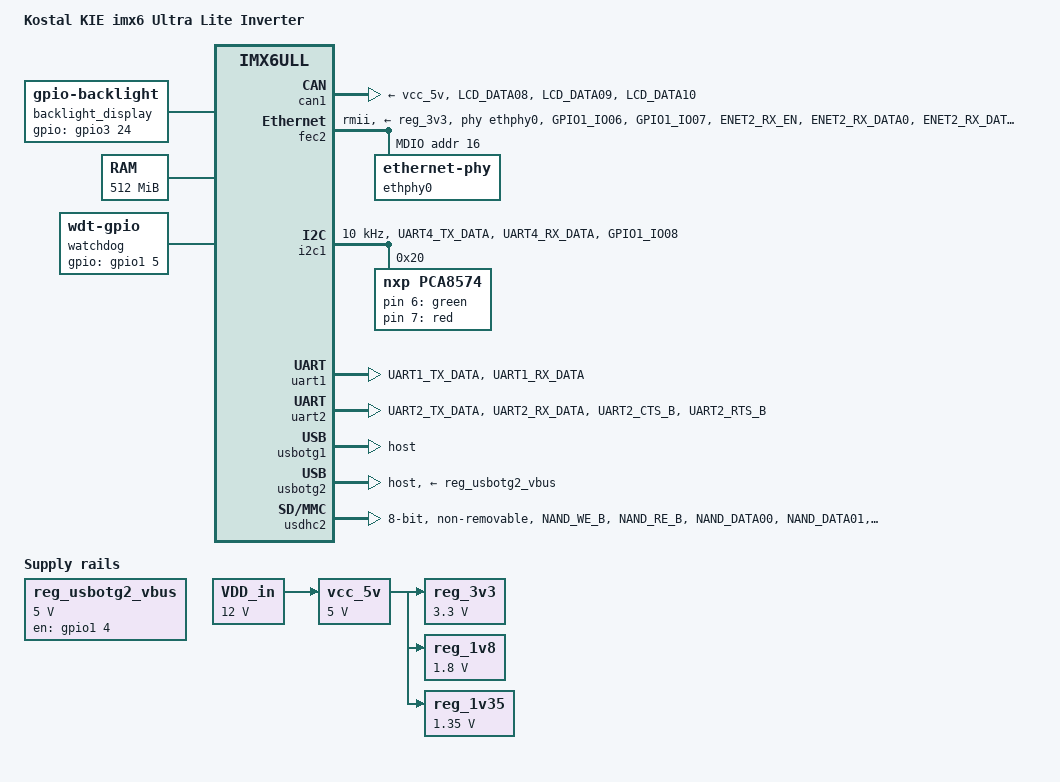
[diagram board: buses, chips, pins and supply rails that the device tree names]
// SPDX-License-Identifier: GPL-2.0+
/*
 * Copyright (C) 2019 DENX Software Engineering GmbH
 * Author: Parthiban Nallathambi <pn@denx.de>
 */
/dts-v1/;

#include "imx6ull.dtsi"
/ {
	model = "Kostal KIE imx6 Ultra Lite Inverter";
	compatible = "kostal,imx6ull-inverter", "fsl,imx6ull";

	aliases {
		u-boot,dm-pre-reloc;
		mmc0 = &usdhc2;
		usb0 = &usbotg1;
		display0 = &lcdif;
		ethernet0 = &fec2;
	};

	backlight_display: backlight-display {
		compatible = "gpio-backlight";
		pinctrl-names = "default";
		pinctrl-0 = <&pinctrl_backlight>;
		gpios = <&gpio3 24 GPIO_ACTIVE_HIGH>;
		default-on;
		status = "okay";
	};

	chosen {
		stdout-path = &uart1;
	};

	leds {
		compatible = "gpio-leds";

		green {
			label = "green";
			gpios = <&pca8574 6 GPIO_ACTIVE_HIGH>;
			linux,default-trigger = "gpio";
			default-state = "off";
		};

		red {
			label = "red";
			gpios = <&pca8574 7 GPIO_ACTIVE_HIGH>;
			linux,default-trigger = "gpio";
			default-state = "off";
		};
	};

	memory {
		reg = <0x80000000 0x20000000>;
	};

	regulators: regulators {
		compatible = "simple-bus";
		#address-cells = <1>;
		#size-cells = <0>;

		reg_usbotg2_vbus: usbotg2-vbus@0 {
			compatible = "regulator-fixed";
			pinctrl-names = "default";
			pinctrl-0 = <&pinctrl_usb_otg2_vbus>;
			regulator-name = "usb_otg2_vbus";
			regulator-min-microvolt = <5000000>;
			regulator-max-microvolt = <5000000>;
			gpio = <&gpio1 4 GPIO_ACTIVE_HIGH>;
			enable-active-high;
		};

		VDD_in: regulator@1 {
			compatible = "regulator-fixed";
			regulator-name = "VDD_in";
			regulator-min-microvolt = <12000000>;
			regulator-max-microvolt = <12000000>;
			regulator-always-on;
			regulator-boot-on;
		};

		vcc_5v: regulator@2 {
			compatible = "regulator-fixed";
			regulator-name = "+5V";
			regulator-min-microvolt = <5000000>;
			regulator-max-microvolt = <5000000>;
			regulator-always-on;
			vin-supply = <&VDD_in>;
		};

		reg_3v3: regulator@4 {
			compatible = "regulator-fixed";
			regulator-name = "3V3";
			regulator-min-microvolt = <3300000>;
			regulator-max-microvolt = <3300000>;
			regulator-always-on;
			vin-supply = <&vcc_5v>;
		};

		reg_1v8: regulator@5 {
			compatible = "regulator-fixed";
			regulator-name = "1V8";
			regulator-min-microvolt = <1800000>;
			regulator-max-microvolt = <1800000>;
			regulator-always-on;
			vin-supply = <&vcc_5v>;
		};

		reg_1v35: regulator@6 {
			compatible = "regulator-fixed";
			regulator-name = "1V35";
			regulator-min-microvolt = <1350000>;
			regulator-max-microvolt = <1350000>;
			regulator-always-on;
			vin-supply = <&vcc_5v>;
		};


/*
		vbus_otg1: regulator@3 {
			compatible = "regulator-fixed";
			reg = <3>;
			regulator-name = "vbus_otg1";
			regulator-min-microvolt = <5000000>;
			regulator-max-microvolt = <5000000>;
		};
*/
	};

/*
	panel {
		compatible = "sitronix,st7701";
		backlight = <&backlight_display>;

		port {
			panel_in: endpoint {
				remote-endpoint = <&display_out>;
			};
		};
	};
*/

	watchdog: watchdog {
		compatible = "linux,wdt-gpio";
		gpios = <&gpio1 5 GPIO_ACTIVE_HIGH>;
		pinctrl-0 = <&pinctrl_ext_wdog>;
		hw_algo = "toggle";
		hw_margin_ms = <1600>;
		always-running;
	};
};

&can1 {
	pinctrl-names = "default";
	pinctrl-0 = <&pinctrl_flexcan1>;
	xceiver-supply = <&vcc_5v>;
	status = "okay";
};

&fec2 {
	pinctrl-names = "default";
	pinctrl-0 = <&pinctrl_enet2>;
	phy-mode = "rmii";
	phy-handle = <&ethphy0>;
	phy-supply = <&reg_3v3>;
	status = "okay";

	/* Switch MV88E6020 at base address 0x10 when ADDR4=1 */
	/* Proper initialization is performed with PHYLIB */
	mdio {
		#address-cells = <1>;
		#size-cells = <0>;

		ethphy0: ethernet-phy@10 {
			reg = <0x10>;
		};
	};
};

&i2c1 {
	clock-frequency = <10000>;
	pinctrl-names = "default";
	pinctrl-0 = <&pinctrl_i2c1>;
	status = "okay";

	pca8574: gpio@20 {
		compatible = "nxp,pca8574";
		reg = <0x20>;
		gpio-controller;
		#gpio-cells = <2>;
		gpio-bank-name = "kbd";
		lines-initial-states = <0xFF>;
	};
};

/* TODO - Not yet working */
/*
&lcdif {
	pinctrl-names = "default";
	pinctrl-0 = <&pinctrl_lcdif_dat
		     &pinctrl_lcdif_ctrl>;
	lcd-supply = <&reg_3v3>;
	status = "okay";

	port {
		display_out: endpoint {
			remote-endpoint = <&panel_in>;
		};
	};
};
*/

&uart1 {
	pinctrl-names = "default";
	pinctrl-0 = <&pinctrl_uart1>;
	status = "okay";
};

&uart2 {
	pinctrl-names = "default";
	pinctrl-0 = <&pinctrl_uart2>;
	uart-has-rtscts;
	status = "okay";
};

&usbotg1 {
	/* TODO Fixed regulator needed? */
	disable-over-current;
	dr_mode = "host";
	status = "okay";
};

&usbotg2 {
	vbus-supply = <&reg_usbotg2_vbus>;
	disable-over-current;
	dr_mode = "host";
	status = "okay";
};

&usdhc2 {
	u-boot,dm-spl;
	u-boot,dm-pre-reloc;
	pinctrl-names = "default";
	pinctrl-0 = <&pinctrl_usdhc2>;
	bus-width = <8>;
	non-removable;
	keep-power-in-suspend;
	status = "okay";
};

&iomuxc {
	pinctrl-names = "default";

	pinctrl_enet2: enet2grp {
		fsl,pins = <
			MX6UL_PAD_GPIO1_IO06__ENET2_MDIO	0x10010
			MX6UL_PAD_GPIO1_IO07__ENET2_MDC		0x10010
			MX6UL_PAD_ENET2_RX_EN__ENET2_RX_EN	0x1b0b0
			MX6UL_PAD_ENET2_RX_DATA0__ENET2_RDATA00	0x1b0b0
			MX6UL_PAD_ENET2_RX_DATA1__ENET2_RDATA01	0x1b0b0
			MX6UL_PAD_ENET2_TX_EN__ENET2_TX_EN	0x1b010
			MX6UL_PAD_ENET2_TX_DATA0__ENET2_TDATA00	0x1b010
			MX6UL_PAD_ENET2_TX_DATA1__ENET2_TDATA01	0x1b010
			MX6UL_PAD_ENET2_TX_CLK__ENET2_REF_CLK2	0x4001b010
			MX6UL_PAD_LCD_DATA13__GPIO3_IO18	0x17059
			MX6UL_PAD_LCD_DATA14__GPIO3_IO19	0x17059
		>;
	};

	pinctrl_ext_wdog: extwdoggrp {
		fsl,pins = <
			MX6UL_PAD_GPIO1_IO05__GPIO1_IO05	0x1b0b0
			/* TODO WDT_SEL, no support in kernel for GPIO */
			MX6UL_PAD_GPIO1_IO03__GPIO1_IO03	0x1b0b0
		>;
	};

	pinctrl_flexcan1: flexcan1grp {
		fsl,pins = <
			MX6UL_PAD_LCD_DATA08__FLEXCAN1_TX	0x1b020
			MX6UL_PAD_LCD_DATA09__FLEXCAN1_RX	0x1b020
			/* TODO STB - silent mode */
			MX6UL_PAD_LCD_DATA10__GPIO3_IO15	0x1b0b0
		>;
	};

	pinctrl_i2c1: i2cgrp {
		fsl,pins = <
			MX6UL_PAD_UART4_TX_DATA__I2C1_SCL	0x4001b8b0
			MX6UL_PAD_UART4_RX_DATA__I2C1_SDA	0x4001b8b0
			MX6UL_PAD_GPIO1_IO08__GPIO1_IO08	0x0b0b0
		>;
	};

	pinctrl_lcdif_dat: lcdifdatgrp {
		fsl,pins = <
			MX6UL_PAD_LCD_DATA00__LCDIF_DATA00	0x79
			MX6UL_PAD_LCD_DATA01__LCDIF_DATA01	0x79
			MX6UL_PAD_LCD_DATA02__LCDIF_DATA02	0x79
			MX6UL_PAD_LCD_DATA03__LCDIF_DATA03	0x79
			MX6UL_PAD_LCD_DATA04__LCDIF_DATA04	0x79
			MX6UL_PAD_LCD_DATA05__LCDIF_DATA05	0x79
			MX6UL_PAD_LCD_DATA06__LCDIF_DATA06	0x79
			MX6UL_PAD_LCD_DATA07__LCDIF_DATA07	0x79
		>;
	};

	pinctrl_lcdif_ctrl: lcdifctrlgrp {
		fsl,pins = <
			MX6UL_PAD_LCD_CLK__LCDIF_CLK		0x79
			MX6UL_PAD_LCD_ENABLE__LCDIF_ENABLE	0x79
			MX6UL_PAD_LCD_HSYNC__LCDIF_HSYNC	0x79
			MX6UL_PAD_LCD_VSYNC__LCDIF_VSYNC	0x79
			MX6UL_PAD_LCD_RESET__LCDIF_RESET	0x79
		>;
	};

	pinctrl_backlight: backlightgrp {
		fsl,pins = <
			MX6UL_PAD_LCD_DATA19__GPIO3_IO24	0x1b0b1
		>;
	};

	pinctrl_uart1: uart1grp {
		fsl,pins = <
			MX6UL_PAD_UART1_TX_DATA__UART1_DCE_TX	0x1b0b1
			MX6UL_PAD_UART1_RX_DATA__UART1_DCE_RX	0x1b0b1
		>;
	};

	pinctrl_uart2: uart2grp {
		fsl,pins = <
			MX6UL_PAD_UART2_TX_DATA__UART2_DCE_TX	0x1b0b1
			MX6UL_PAD_UART2_RX_DATA__UART2_DCE_RX	0x1b0b1
			MX6UL_PAD_UART2_CTS_B__UART2_DCE_CTS	0x1b0b1
			MX6UL_PAD_UART2_RTS_B__UART2_DCE_RTS	0x1b0b1
		>;
	};

	pinctrl_usb_otg2_vbus: usbotg2vbusgrp {
		fsl,pins = <
			MX6UL_PAD_GPIO1_IO04__GPIO1_IO04	0x10b0
		>;
	};

	pinctrl_usdhc2: usdhc2grp {
		fsl,pins = <
			MX6UL_PAD_NAND_WE_B__USDHC2_CMD 		0x170f9
			MX6UL_PAD_NAND_RE_B__USDHC2_CLK   	0x100f9
			MX6UL_PAD_NAND_DATA00__USDHC2_DATA0	0x170f9
			MX6UL_PAD_NAND_DATA01__USDHC2_DATA1	0x170f9
			MX6UL_PAD_NAND_DATA02__USDHC2_DATA2	0x170f9
			MX6UL_PAD_NAND_DATA03__USDHC2_DATA3	0x170f9
			MX6UL_PAD_NAND_DATA04__USDHC2_DATA4	0x170f9
			MX6UL_PAD_NAND_DATA05__USDHC2_DATA5	0x170f9
			MX6UL_PAD_NAND_DATA06__USDHC2_DATA6	0x170f9
			MX6UL_PAD_NAND_DATA07__USDHC2_DATA7	0x170f9
			MX6UL_PAD_NAND_ALE__USDHC2_RESET_B 	0x170f9
		>;
	};
};
